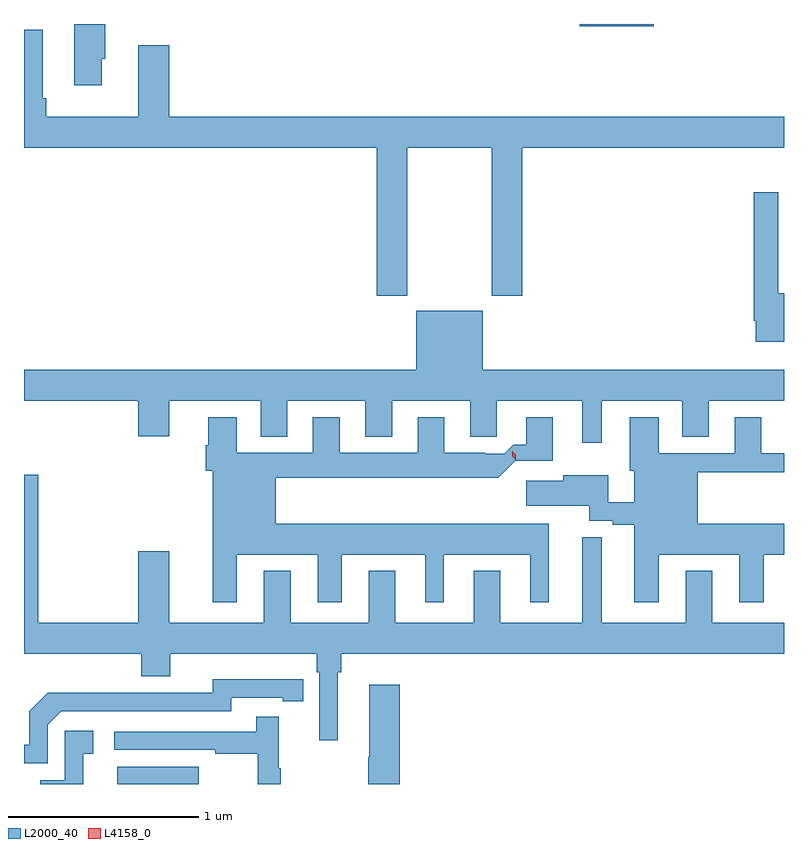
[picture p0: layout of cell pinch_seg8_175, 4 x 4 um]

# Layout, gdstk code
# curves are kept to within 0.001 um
import gdstk
lib = gdstk.Library(unit=1e-6, precision=1e-09)
def R(c, l, rs):  # rectangles x0, y0, x1, y1
    for r in rs: c.add(gdstk.rectangle(r[:2], r[2:], *l))
def P(c, l, *ps):  # polygons
    for p in ps: c.add(gdstk.Polygon(p, *l))
L2000_40 = (2000, 40)
L4158_0 = (4158, 0)

pinch_seg8_175 = lib.new_cell('pinch_seg8_175')
R(pinch_seg8_175, L2000_40, [(644.42,1129.135,644.848,1129.225), (646.854,1133.122,647.242,1133.135)])
P(pinch_seg8_175, L2000_40, [(644.338,1132.953),(644.356,1132.953),(644.356,1133.135),(644.192,1133.135),(644.192,1132.812),(644.338,1132.812)],
  [(645.945,1132.484),(646.39,1132.484),(646.39,1131.705),(646.55,1131.705),(646.55,1132.484),(647.928,1132.484),(647.928,1132.648),(644.692,1132.648),(644.692,1133.023),(644.528,1133.023),(644.528,1132.648),(644.045,1132.648),(644.045,1132.744),(644.026,1132.744),(644.026,1133.104),(643.929,1133.104),(643.929,1132.744),(643.928,1132.744),(643.928,1132.484),(645.785,1132.484),(645.785,1131.705),(645.945,1131.705)],
  [(647.928,1131.717),(647.899,1131.717),(647.899,1132.249),(647.768,1132.249),(647.768,1131.574),(647.78,1131.574),(647.78,1131.462),(647.928,1131.462)],
  [(646.969,1131.152),(647.393,1131.152),(647.393,1130.962),(647.533,1130.962),(647.533,1131.152),(647.928,1131.152),(647.928,1131.316),(646.342,1131.316),(646.342,1131.625),(645.992,1131.625),(645.992,1131.316),(643.928,1131.316),(643.928,1131.152),(644.528,1131.152),(644.528,1130.964),(644.692,1130.964),(644.692,1131.152),(645.173,1131.152),(645.173,1130.963),(645.313,1130.963),(645.313,1131.152),(645.725,1131.152),(645.725,1130.963),(645.865,1130.963),(645.865,1131.152),(646.277,1131.152),(646.277,1130.963),(646.417,1130.963),(646.417,1131.152),(646.865,1131.152),(646.865,1130.931),(646.969,1130.931)],
  [(647.269,1130.342),(647.693,1130.342),(647.693,1130.091),(647.821,1130.091),(647.821,1130.342),(647.928,1130.342),(647.928,1130.506),(647.473,1130.506),(647.473,1130.776),(647.928,1130.776),(647.928,1130.877),(647.809,1130.877),(647.809,1131.064),(647.669,1131.064),(647.669,1130.877),(647.269,1130.877),(647.269,1131.064),(647.117,1131.064),(647.117,1130.784),(647.141,1130.784),(647.141,1130.617),(647.002,1130.617),(647.002,1130.761),(646.766,1130.761),(646.766,1130.731),(646.572,1130.731),(646.572,1130.6),(646.904,1130.6),(646.904,1130.52),(647.027,1130.52),(647.027,1130.5),(647.141,1130.5),(647.141,1130.091),(647.269,1130.091)],
  [(645.049,1130.342),(645.473,1130.342),(645.473,1130.091),(645.601,1130.091),(645.601,1130.342),(646.04,1130.342),(646.04,1130.091),(646.138,1130.091),(646.138,1130.342),(646.592,1130.342),(646.592,1130.091),(646.69,1130.091),(646.69,1130.506),(645.253,1130.506),(645.253,1130.747),(646.425,1130.747),(646.514,1130.836),(646.711,1130.836),(646.711,1131.064),(646.571,1131.064),(646.571,1130.921),(646.502,1130.921),(646.455,1130.874),(646.355,1130.874),(646.355,1130.878),(646.141,1130.878),(646.141,1131.064),(646.001,1131.064),(646.001,1130.878),(645.589,1130.878),(645.589,1131.064),(645.449,1131.064),(645.449,1130.878),(645.049,1130.878),(645.049,1131.064),(644.897,1131.064),(644.897,1130.918),(644.885,1130.918),(644.885,1130.784),(644.921,1130.784),(644.921,1130.091),(645.049,1130.091)],
  [(645.58,1129.724),(645.599,1129.724),(645.599,1129.82),(647.928,1129.82),(647.928,1129.984),(647.551,1129.984),(647.551,1130.257),(647.411,1130.257),(647.411,1129.984),(646.969,1129.984),(646.969,1130.434),(646.865,1130.434),(646.865,1129.984),(646.435,1129.984),(646.435,1130.257),(646.295,1130.257),(646.295,1129.984),(645.883,1129.984),(645.883,1130.257),(645.743,1130.257),(645.743,1129.984),(645.331,1129.984),(645.331,1130.257),(645.191,1130.257),(645.191,1129.984),(644.692,1129.984),(644.692,1130.359),(644.528,1130.359),(644.528,1129.984),(644.003,1129.984),(644.003,1130.763),(643.928,1130.763),(643.928,1129.82),(644.546,1129.82),(644.546,1129.703),(644.698,1129.703),(644.698,1129.82),(645.47,1129.82),(645.47,1129.724),(645.483,1129.724),(645.483,1129.365),(645.58,1129.365)],
  [(644.052,1129.446),(644.124,1129.518),(645.018,1129.518),(645.018,1129.59),(645.29,1129.59),(645.29,1129.57),(645.398,1129.57),(645.398,1129.686),(644.922,1129.687),(644.922,1129.614),(644.462,1129.614),(644.462,1129.616),(644.054,1129.616),(643.956,1129.518),(643.956,1129.341),(643.928,1129.341),(643.928,1129.245),(644.052,1129.245)],
  [(645.905,1129.657),(645.746,1129.657),(645.746,1129.277),(645.739,1129.277),(645.739,1129.135),(645.905,1129.135)],
  [(645.28,1129.217),(645.269,1129.217),(645.269,1129.489),(645.151,1129.489),(645.151,1129.41),(644.403,1129.41),(644.403,1129.314),(644.935,1129.314),(644.935,1129.294),(645.159,1129.294),(645.159,1129.135),(645.28,1129.135)],
  [(644.24,1129.293),(644.293,1129.293),(644.293,1129.414),(644.142,1129.414),(644.142,1129.155),(644.013,1129.155),(644.013,1129.135),(644.24,1129.135)])
P(pinch_seg8_175, L4158_0, [(646.517,1130.841),(646.517,1130.842),(646.498,1130.861),(646.498,1130.887),(646.498,1130.888),(646.498,1130.887),(646.517,1130.868),(646.517,1130.842)])

lib.write_gds('pinch_seg8_175.gds')
